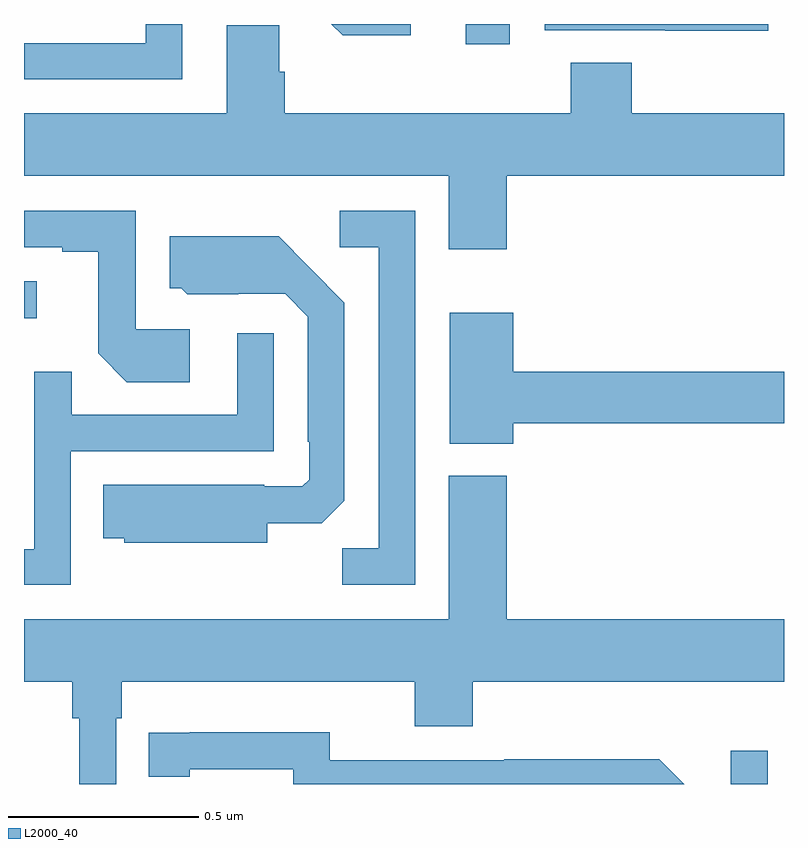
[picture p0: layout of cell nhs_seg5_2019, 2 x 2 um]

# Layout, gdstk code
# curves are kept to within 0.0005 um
import gdstk
lib = gdstk.Library(unit=1e-6, precision=1e-09)
def R(c, l, rs):  # rectangles x0, y0, x1, y1
    for r in rs: c.add(gdstk.rectangle(r[:2], r[2:], *l))
def P(c, l, *ps):  # polygons
    for p in ps: c.add(gdstk.Polygon(p, *l))
L2000_40 = (2000, 40)

nhs_seg5_2019 = lib.new_cell('nhs_seg5_2019')
R(nhs_seg5_2019, L2000_40, [(139.86,881.799,139.957,881.887), (138,883.025,138.034,883.122), (139.163,883.746,139.278,883.799)])
P(nhs_seg5_2019, L2000_40, [(139.018,883.799),(138.809,883.799),(138.839,883.769),(139.018,883.769)],
  [(138.417,883.799),(138.321,883.799),(138.321,883.749),(138,883.749),(138,883.653),(138.417,883.653)],
  [(139.959,883.799),(139.371,883.799),(139.371,883.782),(139.687,883.782),(139.687,883.781),(139.959,883.781)],
  [(139.271,883.4),(140,883.4),(140,883.564),(139.599,883.564),(139.599,883.697),(139.439,883.697),(139.439,883.564),(138.686,883.564),(138.686,883.673),(138.672,883.673),(138.672,883.796),(138.533,883.796),(138.533,883.564),(138,883.564),(138,883.4),(139.118,883.4),(139.118,883.206),(139.271,883.206)],
  [(139.029,883.308),(138.831,883.308),(138.831,883.212),(138.933,883.212),(138.933,882.419),(138.838,882.419),(138.838,882.324),(139.029,882.324)],
  [(138.436,882.996),(138.294,882.996),(138.294,883.308),(138,883.308),(138,883.212),(138.101,883.212),(138.101,883.2),(138.195,883.2),(138.195,882.932),(138.271,882.856),(138.436,882.856)],
  [(138.64,882.485),(138.784,882.485),(138.843,882.544),(138.843,883.066),(138.671,883.24),(138.383,883.24),(138.383,883.104),(138.414,883.104),(138.43,883.088),(138.564,883.088),(138.564,883.089),(138.687,883.089),(138.747,883.029),(138.747,882.7),(138.75,882.7),(138.75,882.6),(138.732,882.582),(138.632,882.582),(138.632,882.586),(138.208,882.586),(138.208,882.446),(138.264,882.446),(138.264,882.434),(138.64,882.434)],
  [(139.288,882.748),(140,882.748),(140,882.884),(139.288,882.884),(139.288,883.039),(139.121,883.039),(139.121,882.695),(139.288,882.695)],
  [(138.123,882.675),(138.657,882.675),(138.657,882.985),(138.561,882.985),(138.561,882.771),(138.125,882.771),(138.125,882.884),(138.027,882.884),(138.027,882.417),(138,882.417),(138,882.324),(138.123,882.324)],
  [(138.243,881.972),(138.257,881.972),(138.257,882.068),(139.028,882.068),(139.028,881.951),(139.181,881.951),(139.181,882.068),(140,882.068),(140,882.232),(139.271,882.232),(139.271,882.61),(139.118,882.61),(139.118,882.232),(138,882.232),(138,882.068),(138.127,882.068),(138.127,881.972),(138.146,881.972),(138.146,881.799),(138.243,881.799)],
  [(139.672,881.864),(139.264,881.864),(139.264,881.862),(138.804,881.862),(138.804,881.935),(138.436,881.935),(138.436,881.934),(138.328,881.934),(138.328,881.818),(138.436,881.818),(138.436,881.838),(138.708,881.838),(138.708,881.799),(139.737,881.799)])

lib.write_gds('nhs_seg5_2019.gds')
